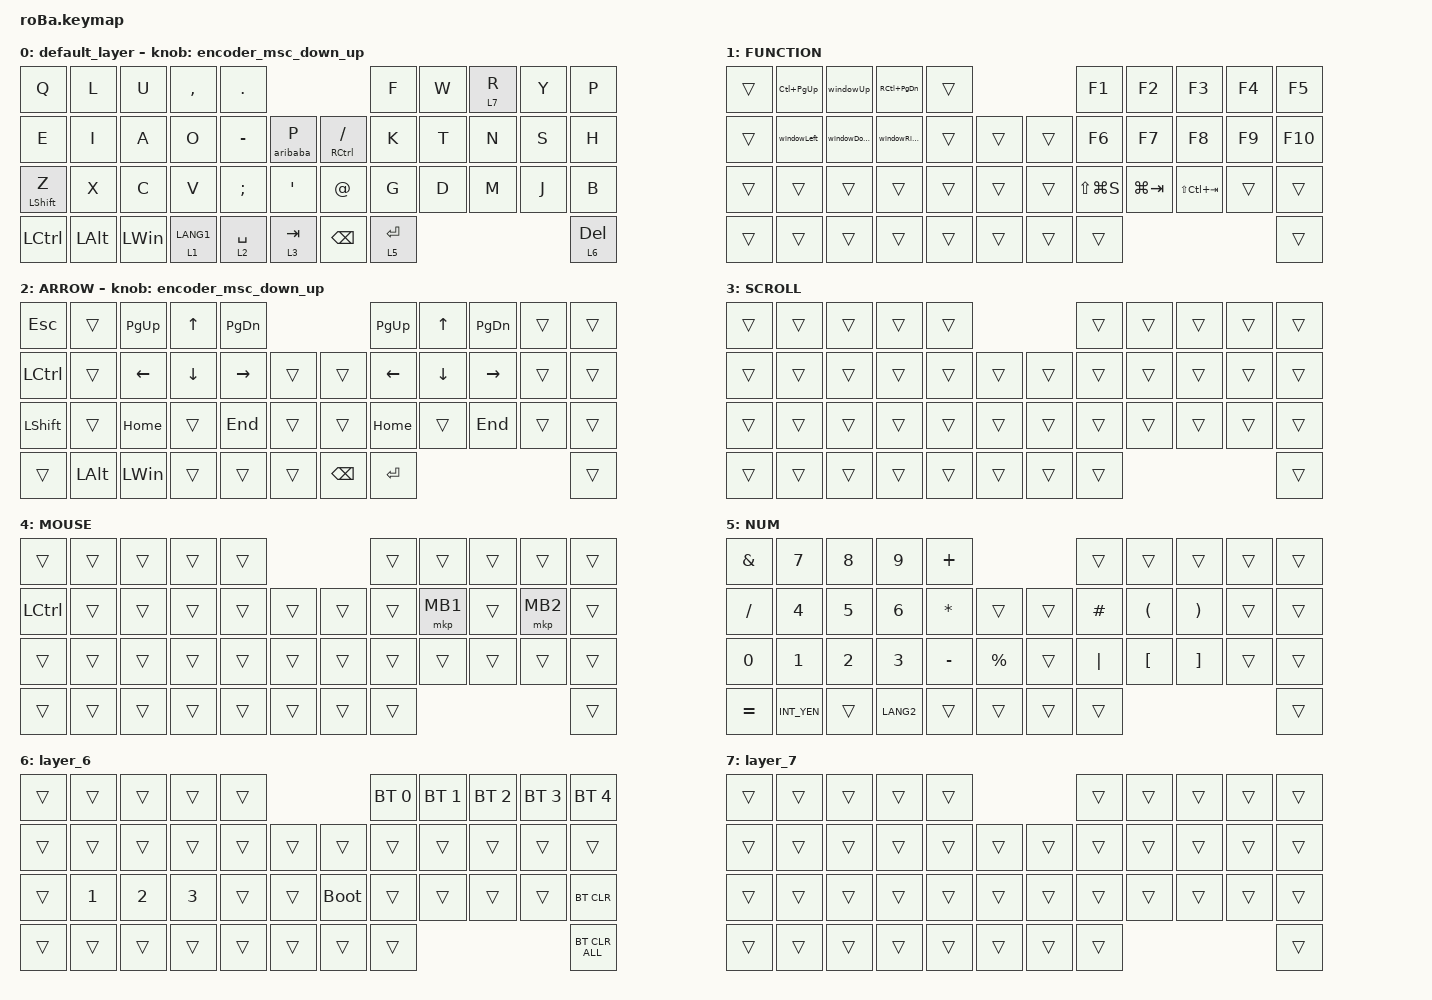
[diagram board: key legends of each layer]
#include <behaviors.dtsi>
#include <dt-bindings/zmk/bt.h>
#include <dt-bindings/zmk/keys.h>
#include <dt-bindings/zmk/pointing.h>

// #includeのあとのあたりにスクロール量を変更

#define ZMK_POINTING_DEFAULT_SCRL_VAL 80

&mt {
    flavor = "balanced";
    quick-tap-ms = <0>;
};

&trackball {
    automouse-layer = <4>;
    scroll-layers = <5>;

    // arrows {
    //     layers = <3>;
    //     bindings =
    //         <&kp RIGHT_ARROW>,
    //         <&kp LEFT_ARROW>,
    //         <&kp UP_ARROW>,
    //         <&kp DOWN_ARROW>;
    //     tick = <10>;
    //     wait-ms = <5>;
    //     tap-ms = <5>;
    // };
};

/ {
    combos {
        compatible = "zmk,combos";

        tab {
            bindings = <&kp TAB>;
            key-positions = <11 12>;
        };

        shift_tab {
            bindings = <&kp LS(TAB)>;
            key-positions = <12 13>;
        };

        exclamation {
            bindings = <&kp EXCLAMATION>;
            key-positions = <11 10 12>;
        };

        double_quotation {
            bindings = <&kp DOUBLE_QUOTES>;
            key-positions = <20 21>;
        };

        eq {
            bindings = <&kp EQUAL>;
            key-positions = <24 25>;
        };

        bikkuri {
            bindings = <&kp LS(N1)>;
            key-positions = <16 28>;
        };
    };

    macros {
        aribaba: password {
            compatible = "zmk,behavior-macro-one-param";
            #binding-cells = <1>;
            bindings = <&macro_param_1to1 &kp MACRO_PLACEHOLDER &kp LS(V) &kp LS(X) &kp T &kp LS(G) &kp NUMBER_7 &kp Y &kp A &kp Y &kp LS(W) &kp Y &kp W &kp Z &kp C &kp LS(N) &kp NUMBER_8>;
            label = "password";
        };

        to_layer_0: to_layer_0 {
            compatible = "zmk,behavior-macro";
            #binding-cells = <0>;
            bindings = <&to 0>;
            label = "TO_LAYER_0";
        };

        windowRight: windowRight {
            compatible = "zmk,behavior-macro";
            #binding-cells = <0>;
            bindings = <&kp LG(RIGHT)>;
            label = "WINDOWRIGHT";
        };

        windowLeft: windowLeft {
            compatible = "zmk,behavior-macro";
            #binding-cells = <0>;
            bindings = <&kp LG(LEFT)>;
            label = "WINDOWLEFT";
        };

        windowDown: windowDown {
            compatible = "zmk,behavior-macro";
            #binding-cells = <0>;
            bindings = <&kp LG(DOWN)>;
            label = "WINDOWDOWN";
        };

        windowUp: windowUp {
            compatible = "zmk,behavior-macro";
            #binding-cells = <0>;
            bindings = <&kp LG(UP_ARROW)>;
            label = "WINDOWUP";
        };

        tabUp: tabUp {
            compatible = "zmk,behavior-macro";
            #binding-cells = <0>;
            bindings = <&kp LC(PAGE_UP)>;
            label = "TABUP";
        };
    };

    behaviors {
        lt_to_layer_0: lt_to_layer_0 {
            compatible = "zmk,behavior-hold-tap";
            label = "LAYER_TAP_TO_0";
            bindings = <&mo>, <&aribaba>;

            #binding-cells = <2>;
            tapping-term-ms = <200>;
        };

        encoder_msc_down_up: encoder_msc_down_up {
            compatible = "zmk,behavior-sensor-rotate";
            label = "ENCODER_MSC_DOWN_UP";
            #sensor-binding-cells = <0>;
            bindings = <&msc SCRL_DOWN>, <&msc SCRL_UP>;

            tap-ms = <20>;
        };
    };

    keymap {
        compatible = "zmk,keymap";

        default_layer {
            bindings = <
&kp Q             &kp L         &kp U         &kp COMMA    &kp PERIOD                                            &kp F        &kp W  &lt 7 R  &kp Y  &kp P
&kp E             &kp I         &kp A         &kp O        &kp MINUS      &aribaba P            &mt RCTRL SLASH  &kp K        &kp T  &kp N    &kp S  &kp H
&mt LEFT_SHIFT Z  &kp X         &kp C         &kp V        &kp SEMICOLON  &kp SINGLE_QUOTE      &kp AT_SIGN      &kp G        &kp D  &kp M    &kp J  &kp B
&kp LCTRL         &kp LEFT_ALT  &kp LEFT_WIN  &lt 1 LANG1  &lt 2 SPACE    &lt 3 TAB             &kp BACKSPACE    &lt 5 ENTER                         &lt 6 DELETE
            >;

            sensor-bindings = <&encoder_msc_down_up>;
        };

        FUNCTION {
            bindings = <
&trans  &kp LC(PAGE_UP)  &windowUp    &kp RC(PAGE_DOWN)  &trans                      &kp F1         &kp F2       &kp F3           &kp F4  &kp F5
&trans  &windowLeft      &windowDown  &windowRight       &trans  &trans      &trans  &kp F6         &kp F7       &kp F8           &kp F9  &kp F10
&trans  &trans           &trans       &trans             &trans  &trans      &trans  &kp LS(LG(S))  &kp LG(TAB)  &kp LS(LC(TAB))  &trans  &trans
&trans  &trans           &trans       &trans             &trans  &trans      &trans  &trans                                               &trans
            >;
        };

        ARROW {
            bindings = <
&kp ESC         &trans        &kp PAGE_UP   &kp UP_ARROW  &kp PAGE_DOWN                             &kp PAGE_UP  &kp UP_ARROW  &kp PAGE_DOWN  &trans  &trans
&kp LCTRL       &trans        &kp LEFT      &kp DOWN      &kp RIGHT      &trans      &trans         &kp LEFT     &kp DOWN      &kp RIGHT      &trans  &trans
&kp LEFT_SHIFT  &trans        &kp HOME      &trans        &kp END        &trans      &trans         &kp HOME     &trans        &kp END        &trans  &trans
&trans          &kp LEFT_ALT  &kp LEFT_WIN  &trans        &trans         &trans      &kp BACKSPACE  &kp ENTER                                         &trans
            >;

            sensor-bindings = <&encoder_msc_down_up>;
        };

        SCROLL {
            bindings = <
&trans  &trans  &trans  &trans  &trans                      &trans  &trans  &trans  &trans  &trans
&trans  &trans  &trans  &trans  &trans  &trans      &trans  &trans  &trans  &trans  &trans  &trans
&trans  &trans  &trans  &trans  &trans  &trans      &trans  &trans  &trans  &trans  &trans  &trans
&trans  &trans  &trans  &trans  &trans  &trans      &trans  &trans                          &trans
            >;
        };

        MOUSE {
            bindings = <
&trans     &trans  &trans  &trans  &trans                      &trans  &trans    &trans  &trans    &trans
&kp LCTRL  &trans  &trans  &trans  &trans  &trans      &trans  &trans  &mkp MB1  &trans  &mkp MB2  &trans
&trans     &trans  &trans  &trans  &trans  &trans      &trans  &trans  &trans    &trans  &trans    &trans
&trans     &trans  &trans  &trans  &trans  &trans      &trans  &trans                              &trans
            >;
        };

        NUM {
            bindings = <
&kp AMPERSAND  &kp N7       &kp N8  &kp N9     &kp PLUS                               &trans    &trans                &trans                 &trans  &trans
&kp SLASH      &kp N4       &kp N5  &kp N6     &kp ASTERISK  &trans           &trans  &kp HASH  &kp LEFT_PARENTHESIS  &kp RIGHT_PARENTHESIS  &trans  &trans
&kp N0         &kp N1       &kp N2  &kp N3     &kp MINUS     &kp PERCENT      &trans  &kp PIPE  &kp LEFT_BRACKET      &kp RIGHT_BRACKET      &trans  &trans
&kp EQUAL      &kp INT_YEN  &trans  &kp LANG2  &trans        &trans           &trans  &trans                                                         &trans
            >;
        };

        layer_6 {
            bindings = <
&trans  &trans        &trans        &trans        &trans                           &bt BT_SEL 0  &bt BT_SEL 1  &bt BT_SEL 2  &bt BT_SEL 3  &bt BT_SEL 4
&trans  &trans        &trans        &trans        &trans  &trans      &trans       &trans        &trans        &trans        &trans        &trans
&trans  &kp NUMBER_1  &kp NUMBER_2  &kp NUMBER_3  &trans  &trans      &bootloader  &trans        &trans        &trans        &trans        &bt BT_CLR
&trans  &trans        &trans        &trans        &trans  &trans      &trans       &trans                                                  &bt BT_CLR_ALL
            >;
        };

        layer_7 {
            bindings = <
&trans  &trans  &trans  &trans  &trans                      &trans  &trans  &trans  &trans  &trans
&trans  &trans  &trans  &trans  &trans  &trans      &trans  &trans  &trans  &trans  &trans  &trans
&trans  &trans  &trans  &trans  &trans  &trans      &trans  &trans  &trans  &trans  &trans  &trans
&trans  &trans  &trans  &trans  &trans  &trans      &trans  &trans                          &trans
            >;
        };
    };
};
